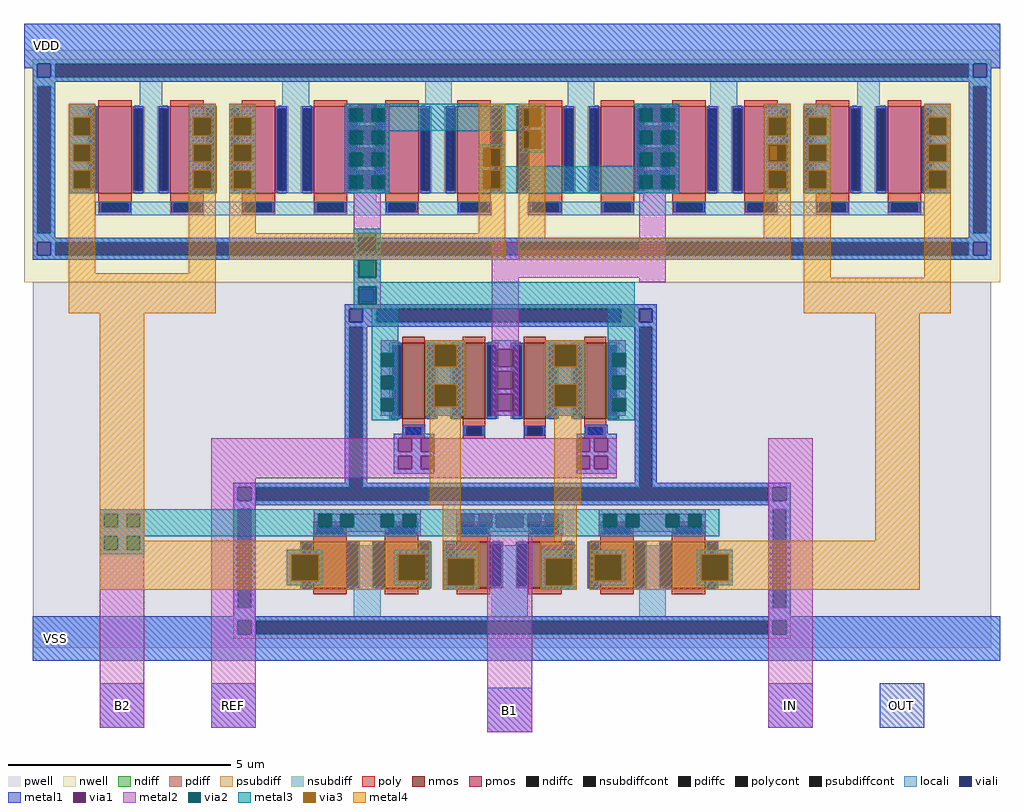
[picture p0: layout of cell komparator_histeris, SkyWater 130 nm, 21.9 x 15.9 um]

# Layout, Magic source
magic
tech sky130A
magscale 1 2
<< nwell >>
rect 760 -800 5140 240
<< pwell >>
rect 800 -2440 5100 -800
<< psubdiff >>
rect 2200 -920 3600 -900
rect 2200 -980 2340 -920
rect 3440 -980 3600 -920
rect 2200 -1000 3600 -980
rect 2200 -1700 2220 -1000
rect 1700 -1720 2220 -1700
rect 2280 -1700 2300 -1000
rect 3500 -1700 3520 -1000
rect 2280 -1720 3520 -1700
rect 3580 -1700 3600 -1000
rect 3580 -1720 4200 -1700
rect 1700 -1780 1800 -1720
rect 4100 -1780 4200 -1720
rect 1700 -1800 4200 -1780
rect 1700 -1820 1800 -1800
rect 1700 -2260 1720 -1820
rect 1780 -2260 1800 -1820
rect 1700 -2300 1800 -2260
rect 4100 -1820 4200 -1800
rect 4100 -2260 4120 -1820
rect 4180 -2260 4200 -1820
rect 4100 -2300 4200 -2260
rect 1700 -2320 4200 -2300
rect 1700 -2380 1800 -2320
rect 4100 -2380 4200 -2320
rect 1700 -2400 4200 -2380
<< nsubdiff >>
rect 800 180 5100 200
rect 800 120 900 180
rect 5000 120 5100 180
rect 800 100 5100 120
rect 800 80 900 100
rect 800 -580 820 80
rect 880 -580 900 80
rect 800 -600 900 -580
rect 5000 80 5100 100
rect 5000 -580 5020 80
rect 5080 -580 5100 80
rect 5000 -600 5100 -580
rect 800 -620 5100 -600
rect 800 -680 900 -620
rect 5000 -680 5100 -620
rect 800 -700 5100 -680
<< psubdiffcont >>
rect 2340 -980 3440 -920
rect 2220 -1720 2280 -1000
rect 3520 -1720 3580 -1000
rect 1800 -1780 4100 -1720
rect 1720 -2260 1780 -1820
rect 4120 -2260 4180 -1820
rect 1800 -2380 4100 -2320
<< nsubdiffcont >>
rect 900 120 5000 180
rect 820 -580 880 80
rect 5020 -580 5080 80
rect 900 -680 5000 -620
<< locali >>
rect 760 180 5140 360
rect 760 160 820 180
rect 800 120 820 160
rect 880 120 900 180
rect 5000 120 5020 180
rect 5080 160 5140 180
rect 5080 120 5100 160
rect 800 100 5100 120
rect 800 80 900 100
rect 800 -580 820 80
rect 880 -580 900 80
rect 960 -400 1080 0
rect 1280 -400 1380 100
rect 1920 -400 2040 100
rect 2240 -440 2340 0
rect 2560 -400 2680 100
rect 3200 -400 3320 100
rect 3540 -440 3640 0
rect 3840 -400 3960 100
rect 4260 -400 4380 0
rect 4500 -400 4600 100
rect 5000 80 5100 100
rect 1080 -500 2860 -440
rect 3020 -500 4800 -440
rect 800 -600 900 -580
rect 5000 -580 5020 80
rect 5080 -580 5100 80
rect 5000 -600 5100 -580
rect 800 -620 5100 -600
rect 800 -680 820 -620
rect 880 -680 900 -620
rect 5000 -680 5020 -620
rect 5080 -680 5100 -620
rect 800 -700 5100 -680
rect 2200 -920 3600 -900
rect 2200 -980 2220 -920
rect 2280 -980 2340 -920
rect 3440 -980 3520 -920
rect 3580 -980 3600 -920
rect 2200 -1000 3600 -980
rect 2200 -1700 2220 -1000
rect 1700 -1720 2220 -1700
rect 2280 -1700 2300 -1000
rect 3114 -1078 3150 -1069
rect 3230 -1077 3254 -1069
rect 2680 -1400 2720 -1080
rect 2680 -1416 2718 -1400
rect 3134 -1416 3150 -1078
rect 3500 -1700 3520 -1000
rect 2280 -1720 3520 -1700
rect 3580 -1700 3600 -1000
rect 3580 -1720 4200 -1700
rect 1700 -1780 1720 -1720
rect 1780 -1780 1800 -1720
rect 4100 -1780 4120 -1720
rect 4180 -1780 4200 -1720
rect 1700 -1800 4200 -1780
rect 1700 -1820 1800 -1800
rect 1700 -2260 1720 -1820
rect 1780 -2260 1800 -1820
rect 4100 -1820 4200 -1800
rect 1700 -2300 1800 -2260
rect 2240 -2300 2360 -1980
rect 2860 -2300 3020 -1980
rect 3520 -2300 3640 -1980
rect 4100 -2260 4120 -1820
rect 4180 -2260 4200 -1820
rect 4100 -2300 4200 -2260
rect 800 -2320 5140 -2300
rect 800 -2380 1720 -2320
rect 1780 -2380 1800 -2320
rect 4100 -2380 4120 -2320
rect 4180 -2380 5140 -2320
rect 800 -2500 5140 -2380
<< viali >>
rect 820 120 880 180
rect 5020 120 5080 180
rect 820 -680 880 -620
rect 5020 -680 5080 -620
rect 2220 -980 2280 -920
rect 3520 -980 3580 -920
rect 1720 -1780 1780 -1720
rect 4120 -1780 4180 -1720
rect 1720 -2380 1780 -2320
rect 4120 -2380 4180 -2320
<< metal1 >>
rect 760 180 5140 360
rect 760 160 820 180
rect 800 120 820 160
rect 880 120 5020 180
rect 5080 160 5140 180
rect 5080 120 5100 160
rect 800 100 5100 120
rect 800 -600 900 100
rect 960 -60 1080 0
rect 960 -140 980 -60
rect 1060 -140 1080 -60
rect 960 -180 1080 -140
rect 960 -260 980 -180
rect 1060 -260 1080 -180
rect 960 -400 1080 -260
rect 1500 -60 1620 0
rect 1500 -140 1520 -60
rect 1600 -140 1620 -60
rect 1500 -180 1620 -140
rect 1500 -260 1520 -180
rect 1600 -260 1620 -180
rect 1500 -400 1620 -260
rect 1680 -60 1800 0
rect 1680 -140 1700 -60
rect 1780 -140 1800 -60
rect 1680 -180 1800 -140
rect 1680 -260 1700 -180
rect 1780 -260 1800 -180
rect 1680 -300 1800 -260
rect 1680 -380 1700 -300
rect 1780 -380 1800 -300
rect 1680 -400 1800 -380
rect 2220 -80 2260 0
rect 2340 -80 2380 0
rect 2220 -100 2380 -80
rect 2220 -180 2260 -100
rect 2340 -180 2380 -100
rect 2220 -200 2380 -180
rect 2220 -280 2260 -200
rect 2340 -280 2380 -200
rect 2220 -300 2380 -280
rect 2220 -380 2260 -300
rect 2340 -380 2380 -300
rect 2220 -400 2380 -380
rect 3500 -80 3540 0
rect 3620 -80 3700 0
rect 3500 -100 3700 -80
rect 3500 -180 3540 -100
rect 3620 -180 3700 -100
rect 3500 -200 3700 -180
rect 3500 -280 3540 -200
rect 3620 -280 3700 -200
rect 3500 -300 3700 -280
rect 3500 -380 3540 -300
rect 3620 -380 3700 -300
rect 3500 -400 3700 -380
rect 4080 -60 4200 0
rect 4080 -140 4100 -60
rect 4180 -140 4200 -60
rect 4080 -180 4200 -140
rect 4080 -260 4100 -180
rect 4180 -260 4200 -180
rect 4080 -300 4200 -260
rect 4080 -380 4100 -300
rect 4180 -380 4200 -300
rect 4080 -400 4200 -380
rect 4260 -60 4380 0
rect 4260 -140 4280 -60
rect 4360 -140 4380 -60
rect 4260 -180 4380 -140
rect 4260 -260 4280 -180
rect 4360 -260 4380 -180
rect 4260 -300 4380 -260
rect 4260 -380 4280 -300
rect 4360 -380 4380 -300
rect 4260 -400 4380 -380
rect 4800 -60 4920 0
rect 4800 -140 4820 -60
rect 4900 -140 4920 -60
rect 4800 -180 4920 -140
rect 4800 -260 4820 -180
rect 4900 -260 4920 -180
rect 4800 -300 4920 -260
rect 4800 -380 4820 -300
rect 4900 -380 4920 -300
rect 4800 -400 4920 -380
rect 5000 -600 5100 100
rect 800 -620 5100 -600
rect 800 -680 820 -620
rect 880 -680 5020 -620
rect 5080 -680 5100 -620
rect 800 -700 5100 -680
rect 2200 -920 3600 -900
rect 2200 -980 2220 -920
rect 2280 -980 3520 -920
rect 3580 -980 3600 -920
rect 2200 -1000 3600 -980
rect 2200 -1700 2300 -1000
rect 2360 -1120 2440 -1060
rect 2420 -1180 2440 -1120
rect 2360 -1220 2440 -1180
rect 2420 -1280 2440 -1220
rect 2360 -1320 2440 -1280
rect 2420 -1380 2440 -1320
rect 2360 -1400 2440 -1380
rect 2560 -1080 2740 -1060
rect 2560 -1180 2600 -1080
rect 2700 -1180 2740 -1080
rect 2560 -1260 2740 -1180
rect 2560 -1360 2600 -1260
rect 2700 -1360 2740 -1260
rect 2560 -1400 2740 -1360
rect 2860 -1100 2980 -1060
rect 2860 -1180 2880 -1100
rect 2960 -1180 2980 -1100
rect 2860 -1200 2980 -1180
rect 2860 -1280 2880 -1200
rect 2960 -1280 2980 -1200
rect 2860 -1300 2980 -1280
rect 2860 -1380 2880 -1300
rect 2960 -1380 2980 -1300
rect 2860 -1400 2980 -1380
rect 3100 -1080 3280 -1060
rect 3100 -1180 3140 -1080
rect 3240 -1180 3280 -1080
rect 3100 -1260 3280 -1180
rect 3100 -1360 3140 -1260
rect 3240 -1360 3280 -1260
rect 3100 -1400 3280 -1360
rect 3380 -1120 3460 -1060
rect 3380 -1180 3400 -1120
rect 3380 -1220 3460 -1180
rect 3380 -1280 3400 -1220
rect 3380 -1320 3460 -1280
rect 3380 -1380 3400 -1320
rect 3380 -1400 3460 -1380
rect 2460 -1480 2560 -1440
rect 3280 -1480 3380 -1440
rect 2420 -1500 2600 -1480
rect 2420 -1560 2440 -1500
rect 2500 -1560 2540 -1500
rect 2420 -1580 2600 -1560
rect 2420 -1640 2440 -1580
rect 2500 -1640 2540 -1580
rect 2420 -1660 2600 -1640
rect 3240 -1500 3420 -1480
rect 3300 -1560 3320 -1500
rect 3380 -1560 3420 -1500
rect 3240 -1580 3420 -1560
rect 3300 -1640 3320 -1580
rect 3380 -1640 3420 -1580
rect 3240 -1660 3420 -1640
rect 3500 -1700 3600 -1000
rect 1700 -1720 4200 -1700
rect 1700 -1780 1720 -1720
rect 1780 -1780 4120 -1720
rect 4180 -1780 4200 -1720
rect 1700 -1800 4200 -1780
rect 1700 -2300 1800 -1800
rect 2060 -1900 2080 -1840
rect 2140 -1900 2180 -1840
rect 2240 -1900 2360 -1840
rect 2420 -1900 2460 -1840
rect 2520 -1900 2540 -1840
rect 2060 -1920 2540 -1900
rect 2700 -1900 2720 -1840
rect 2780 -1900 2800 -1840
rect 2860 -1900 2880 -1840
rect 3000 -1900 3020 -1840
rect 3080 -1900 3100 -1840
rect 3160 -1900 3180 -1840
rect 2700 -1920 3180 -1900
rect 3340 -1900 3360 -1840
rect 3420 -1900 3460 -1840
rect 3520 -1900 3640 -1840
rect 3700 -1900 3740 -1840
rect 3800 -1900 3820 -1840
rect 3340 -1920 3820 -1900
rect 1940 -2020 2100 -2000
rect 1940 -2140 1960 -2020
rect 2080 -2140 2100 -2020
rect 1940 -2160 2100 -2140
rect 2420 -2020 2580 -2000
rect 2420 -2140 2440 -2020
rect 2560 -2140 2580 -2020
rect 2420 -2160 2580 -2140
rect 2640 -2040 2800 -1960
rect 2640 -2160 2660 -2040
rect 2780 -2160 2800 -2040
rect 2640 -2180 2800 -2160
rect 3080 -2040 3240 -1980
rect 3080 -2160 3100 -2040
rect 3220 -2160 3240 -2040
rect 3300 -2020 3460 -2000
rect 3300 -2140 3320 -2020
rect 3440 -2140 3460 -2020
rect 3300 -2160 3460 -2140
rect 3780 -2020 3940 -2000
rect 3780 -2140 3800 -2020
rect 3920 -2140 3940 -2020
rect 3780 -2160 3940 -2140
rect 3080 -2180 3240 -2160
rect 4100 -2300 4200 -1800
rect 800 -2320 5140 -2300
rect 800 -2380 1720 -2320
rect 1780 -2380 4120 -2320
rect 4180 -2380 5140 -2320
rect 800 -2500 5140 -2380
rect 1100 -2800 1300 -2600
rect 1600 -2800 1800 -2600
rect 2840 -2820 3040 -2620
rect 4100 -2800 4300 -2600
rect 4600 -2800 4800 -2600
<< via1 >>
rect 980 -140 1060 -60
rect 980 -260 1060 -180
rect 1520 -140 1600 -60
rect 1520 -260 1600 -180
rect 1700 -140 1780 -60
rect 1700 -260 1780 -180
rect 1700 -380 1780 -300
rect 2260 -80 2340 0
rect 2260 -180 2340 -100
rect 2260 -280 2340 -200
rect 2260 -380 2340 -300
rect 3540 -80 3620 0
rect 3540 -180 3620 -100
rect 3540 -280 3620 -200
rect 3540 -380 3620 -300
rect 4100 -140 4180 -60
rect 4100 -260 4180 -180
rect 4100 -380 4180 -300
rect 4280 -140 4360 -60
rect 4280 -260 4360 -180
rect 4280 -380 4360 -300
rect 4820 -140 4900 -60
rect 4820 -260 4900 -180
rect 4820 -380 4900 -300
rect 2360 -1180 2420 -1120
rect 2360 -1280 2420 -1220
rect 2360 -1380 2420 -1320
rect 2600 -1180 2700 -1080
rect 2600 -1360 2700 -1260
rect 2880 -1180 2960 -1100
rect 2880 -1280 2960 -1200
rect 2880 -1380 2960 -1300
rect 3140 -1180 3240 -1080
rect 3140 -1360 3240 -1260
rect 3400 -1180 3460 -1120
rect 3400 -1280 3460 -1220
rect 3400 -1380 3460 -1320
rect 2440 -1560 2500 -1500
rect 2540 -1560 2600 -1500
rect 2440 -1640 2500 -1580
rect 2540 -1640 2600 -1580
rect 3240 -1560 3300 -1500
rect 3320 -1560 3380 -1500
rect 3240 -1640 3300 -1580
rect 3320 -1640 3380 -1580
rect 2080 -1900 2140 -1840
rect 2180 -1900 2240 -1840
rect 2360 -1900 2420 -1840
rect 2460 -1900 2520 -1840
rect 2720 -1900 2780 -1840
rect 2800 -1900 2860 -1840
rect 2880 -1900 3000 -1840
rect 3020 -1900 3080 -1840
rect 3100 -1900 3160 -1840
rect 3360 -1900 3420 -1840
rect 3460 -1900 3520 -1840
rect 3640 -1900 3700 -1840
rect 3740 -1900 3800 -1840
rect 1960 -2140 2080 -2020
rect 2440 -2140 2560 -2020
rect 2660 -2160 2780 -2040
rect 3100 -2160 3220 -2040
rect 3320 -2140 3440 -2020
rect 3800 -2140 3920 -2020
<< metal2 >>
rect 960 -60 1080 0
rect 960 -140 980 -60
rect 1060 -140 1080 -60
rect 960 -180 1080 -140
rect 960 -260 980 -180
rect 1060 -260 1080 -180
rect 960 -300 1080 -260
rect 960 -380 980 -300
rect 1060 -380 1080 -300
rect 960 -400 1080 -380
rect 1500 -60 1620 0
rect 1500 -140 1520 -60
rect 1600 -140 1620 -60
rect 1500 -180 1620 -140
rect 1500 -260 1520 -180
rect 1600 -260 1620 -180
rect 1500 -300 1620 -260
rect 1500 -380 1520 -300
rect 1600 -380 1620 -300
rect 1500 -400 1620 -380
rect 1680 -60 1800 0
rect 1680 -140 1700 -60
rect 1780 -140 1800 -60
rect 1680 -180 1800 -140
rect 1680 -260 1700 -180
rect 1780 -260 1800 -180
rect 1680 -300 1800 -260
rect 1680 -380 1700 -300
rect 1780 -380 1800 -300
rect 1680 -400 1800 -380
rect 2200 -20 2260 0
rect 2340 -20 2400 0
rect 2200 -80 2220 -20
rect 2380 -80 2400 -20
rect 2200 -100 2400 -80
rect 2200 -120 2260 -100
rect 2340 -120 2400 -100
rect 2200 -180 2220 -120
rect 2380 -180 2400 -120
rect 2200 -200 2400 -180
rect 2200 -220 2260 -200
rect 2340 -220 2400 -200
rect 2200 -280 2220 -220
rect 2380 -280 2400 -220
rect 2200 -300 2400 -280
rect 2200 -320 2260 -300
rect 2340 -320 2400 -300
rect 2200 -380 2220 -320
rect 2380 -380 2400 -320
rect 2200 -400 2400 -380
rect 3500 -20 3540 0
rect 3620 -20 3700 0
rect 3500 -80 3520 -20
rect 3680 -80 3700 -20
rect 3500 -100 3700 -80
rect 3500 -120 3540 -100
rect 3620 -120 3700 -100
rect 3500 -180 3520 -120
rect 3680 -180 3700 -120
rect 3500 -200 3700 -180
rect 3500 -220 3540 -200
rect 3620 -220 3700 -200
rect 3500 -280 3520 -220
rect 3680 -280 3700 -220
rect 3500 -300 3700 -280
rect 3500 -320 3540 -300
rect 3620 -320 3700 -300
rect 3500 -380 3520 -320
rect 3680 -380 3700 -320
rect 3500 -400 3700 -380
rect 4080 -60 4200 0
rect 4080 -140 4100 -60
rect 4180 -140 4200 -60
rect 4080 -180 4200 -140
rect 4080 -260 4100 -180
rect 4180 -260 4200 -180
rect 4080 -300 4200 -260
rect 4080 -380 4100 -300
rect 4180 -380 4200 -300
rect 4080 -400 4200 -380
rect 4260 -60 4380 0
rect 4260 -140 4280 -60
rect 4360 -140 4380 -60
rect 4260 -180 4380 -140
rect 4260 -260 4280 -180
rect 4360 -260 4380 -180
rect 4260 -300 4380 -260
rect 4260 -380 4280 -300
rect 4360 -380 4380 -300
rect 4260 -400 4380 -380
rect 4800 -60 4920 0
rect 4800 -140 4820 -60
rect 4900 -140 4920 -60
rect 4800 -180 4920 -140
rect 4800 -260 4820 -180
rect 4900 -260 4920 -180
rect 4800 -300 4920 -260
rect 4800 -380 4820 -300
rect 4900 -380 4920 -300
rect 4800 -400 4920 -380
rect 2240 -580 2360 -400
rect 2240 -660 2260 -580
rect 2340 -660 2360 -580
rect 2240 -700 2360 -660
rect 2240 -780 2260 -700
rect 2340 -780 2360 -700
rect 2240 -820 2360 -780
rect 2240 -900 2260 -820
rect 2340 -900 2360 -820
rect 2240 -920 2360 -900
rect 2860 -660 2980 -620
rect 3520 -660 3640 -400
rect 2860 -780 3640 -660
rect 2360 -1120 2440 -1060
rect 2420 -1180 2440 -1120
rect 2360 -1220 2440 -1180
rect 2420 -1280 2440 -1220
rect 2360 -1320 2440 -1280
rect 2420 -1380 2440 -1320
rect 2360 -1400 2440 -1380
rect 2560 -1080 2740 -1060
rect 2560 -1180 2600 -1080
rect 2700 -1180 2740 -1080
rect 2560 -1260 2740 -1180
rect 2560 -1360 2600 -1260
rect 2700 -1360 2740 -1260
rect 2560 -1400 2740 -1360
rect 2860 -1100 2980 -780
rect 3520 -800 3640 -780
rect 2860 -1180 2880 -1100
rect 2960 -1180 2980 -1100
rect 2860 -1200 2980 -1180
rect 2860 -1280 2880 -1200
rect 2960 -1280 2980 -1200
rect 2860 -1300 2980 -1280
rect 2860 -1380 2880 -1300
rect 2960 -1380 2980 -1300
rect 2860 -1400 2980 -1380
rect 3100 -1080 3280 -1060
rect 3100 -1180 3140 -1080
rect 3240 -1180 3280 -1080
rect 3100 -1260 3280 -1180
rect 3100 -1360 3140 -1260
rect 3240 -1360 3280 -1260
rect 3100 -1400 3280 -1360
rect 3380 -1120 3460 -1060
rect 3380 -1180 3400 -1120
rect 3380 -1220 3460 -1180
rect 3380 -1280 3400 -1220
rect 3380 -1320 3460 -1280
rect 3380 -1380 3400 -1320
rect 3380 -1400 3460 -1380
rect 1600 -1560 2440 -1500
rect 2500 -1560 2540 -1500
rect 2600 -1560 3240 -1500
rect 3300 -1560 3320 -1500
rect 3380 -1560 3420 -1500
rect 1600 -1580 3420 -1560
rect 1600 -1640 2440 -1580
rect 2500 -1640 2540 -1580
rect 2600 -1640 3240 -1580
rect 3300 -1640 3320 -1580
rect 3380 -1640 3420 -1580
rect 1600 -1680 3420 -1640
rect 1100 -1840 1300 -1820
rect 1100 -1900 1120 -1840
rect 1180 -1900 1220 -1840
rect 1280 -1900 1300 -1840
rect 1100 -1940 1300 -1900
rect 1100 -2000 1120 -1940
rect 1180 -2000 1220 -1940
rect 1280 -2000 1300 -1940
rect 1100 -2800 1300 -2000
rect 1600 -2800 1800 -1680
rect 2060 -1840 2540 -1820
rect 2060 -1900 2080 -1840
rect 2140 -1900 2180 -1840
rect 2240 -1900 2360 -1840
rect 2420 -1900 2460 -1840
rect 2520 -1900 2540 -1840
rect 2060 -1940 2540 -1900
rect 2700 -1840 3180 -1820
rect 2700 -1900 2720 -1840
rect 2780 -1900 2800 -1840
rect 2860 -1900 2880 -1840
rect 3000 -1900 3020 -1840
rect 3080 -1900 3100 -1840
rect 3160 -1900 3180 -1840
rect 2700 -1940 3180 -1900
rect 3340 -1840 3820 -1820
rect 3340 -1900 3360 -1840
rect 3420 -1900 3460 -1840
rect 3520 -1900 3640 -1840
rect 3700 -1900 3740 -1840
rect 3800 -1900 3820 -1840
rect 3340 -1940 3820 -1900
rect 1940 -2020 2100 -2000
rect 1940 -2140 1960 -2020
rect 2080 -2140 2100 -2020
rect 1940 -2160 2100 -2140
rect 2420 -2020 2580 -2000
rect 2420 -2140 2440 -2020
rect 2560 -2140 2580 -2020
rect 2420 -2160 2580 -2140
rect 2640 -2040 2800 -1980
rect 2640 -2160 2660 -2040
rect 2780 -2160 2800 -2040
rect 2640 -2180 2800 -2160
rect 2840 -2820 3040 -1940
rect 3080 -2040 3240 -1980
rect 3080 -2160 3100 -2040
rect 3220 -2160 3240 -2040
rect 3300 -2020 3460 -2000
rect 3300 -2140 3320 -2020
rect 3440 -2140 3460 -2020
rect 3300 -2160 3460 -2140
rect 3780 -2020 3940 -2000
rect 3780 -2140 3800 -2020
rect 3920 -2140 3940 -2020
rect 3780 -2160 3940 -2140
rect 3080 -2180 3240 -2160
rect 4100 -2800 4300 -1500
<< via2 >>
rect 980 -140 1060 -60
rect 980 -260 1060 -180
rect 980 -380 1060 -300
rect 1520 -140 1600 -60
rect 1520 -260 1600 -180
rect 1520 -380 1600 -300
rect 1700 -140 1780 -60
rect 1700 -260 1780 -180
rect 1700 -380 1780 -300
rect 2220 -80 2260 -20
rect 2260 -80 2280 -20
rect 2320 -80 2340 -20
rect 2340 -80 2380 -20
rect 2220 -180 2260 -120
rect 2260 -180 2280 -120
rect 2320 -180 2340 -120
rect 2340 -180 2380 -120
rect 2220 -280 2260 -220
rect 2260 -280 2280 -220
rect 2320 -280 2340 -220
rect 2340 -280 2380 -220
rect 2220 -380 2260 -320
rect 2260 -380 2280 -320
rect 2320 -380 2340 -320
rect 2340 -380 2380 -320
rect 3520 -80 3540 -20
rect 3540 -80 3580 -20
rect 3620 -80 3680 -20
rect 3520 -180 3540 -120
rect 3540 -180 3580 -120
rect 3620 -180 3680 -120
rect 3520 -280 3540 -220
rect 3540 -280 3580 -220
rect 3620 -280 3680 -220
rect 3520 -380 3540 -320
rect 3540 -380 3580 -320
rect 3620 -380 3680 -320
rect 4100 -140 4180 -60
rect 4100 -380 4180 -300
rect 4280 -140 4360 -60
rect 4280 -260 4360 -180
rect 4280 -380 4360 -300
rect 4820 -140 4900 -60
rect 4820 -260 4900 -180
rect 4820 -380 4900 -300
rect 2260 -660 2340 -580
rect 2260 -780 2340 -700
rect 2260 -900 2340 -820
rect 2360 -1180 2420 -1120
rect 2360 -1280 2420 -1220
rect 2360 -1380 2420 -1320
rect 2600 -1180 2700 -1080
rect 2600 -1360 2700 -1260
rect 3140 -1180 3240 -1080
rect 3140 -1360 3240 -1260
rect 3400 -1180 3460 -1120
rect 3400 -1280 3460 -1220
rect 3400 -1380 3460 -1320
rect 1120 -1900 1180 -1840
rect 1220 -1900 1280 -1840
rect 1120 -2000 1180 -1940
rect 1220 -2000 1280 -1940
rect 2080 -1900 2140 -1840
rect 2180 -1900 2240 -1840
rect 2360 -1900 2420 -1840
rect 2460 -1900 2520 -1840
rect 3360 -1900 3420 -1840
rect 3460 -1900 3520 -1840
rect 3640 -1900 3700 -1840
rect 3740 -1900 3800 -1840
rect 1960 -2140 2080 -2020
rect 2440 -2140 2560 -2020
rect 2660 -2160 2780 -2040
rect 3100 -2160 3220 -2040
rect 3320 -2140 3440 -2020
rect 3800 -2140 3920 -2020
<< metal3 >>
rect 960 -60 1080 0
rect 960 -140 980 -60
rect 1060 -140 1080 -60
rect 960 -180 1080 -140
rect 960 -260 980 -180
rect 1060 -260 1080 -180
rect 960 -300 1080 -260
rect 960 -380 980 -300
rect 1060 -380 1080 -300
rect 960 -400 1080 -380
rect 1500 -60 1620 0
rect 1500 -140 1520 -60
rect 1600 -140 1620 -60
rect 1500 -180 1620 -140
rect 1500 -260 1520 -180
rect 1600 -260 1620 -180
rect 1500 -300 1620 -260
rect 1500 -380 1520 -300
rect 1600 -380 1620 -300
rect 1500 -400 1620 -380
rect 1680 -60 1800 0
rect 1680 -140 1700 -60
rect 1780 -140 1800 -60
rect 1680 -180 1800 -140
rect 1680 -260 1700 -180
rect 1780 -260 1800 -180
rect 1680 -300 1800 -260
rect 1680 -380 1700 -300
rect 1780 -380 1800 -300
rect 1680 -400 1800 -380
rect 2200 -20 3100 0
rect 2200 -80 2220 -20
rect 2280 -80 2320 -20
rect 2380 -80 3000 -20
rect 2200 -100 3000 -80
rect 3080 -100 3100 -20
rect 2200 -120 3100 -100
rect 2200 -180 2220 -120
rect 2280 -180 2320 -120
rect 2380 -180 2400 -120
rect 2200 -220 2400 -180
rect 2200 -280 2220 -220
rect 2280 -280 2320 -220
rect 2380 -280 2400 -220
rect 2200 -320 2400 -280
rect 2200 -380 2220 -320
rect 2280 -380 2320 -320
rect 2380 -380 2400 -320
rect 2200 -400 2400 -380
rect 2800 -200 2920 -180
rect 2800 -280 2820 -200
rect 2900 -280 2920 -200
rect 2980 -200 3000 -120
rect 3080 -200 3100 -120
rect 2980 -220 3100 -200
rect 3500 -20 3700 0
rect 3500 -80 3520 -20
rect 3580 -80 3620 -20
rect 3680 -80 3700 -20
rect 3500 -120 3700 -80
rect 3500 -180 3520 -120
rect 3580 -180 3620 -120
rect 3680 -180 3700 -120
rect 3500 -220 3700 -180
rect 3500 -280 3520 -220
rect 3580 -280 3620 -220
rect 3680 -280 3700 -220
rect 2800 -300 3700 -280
rect 2800 -380 2820 -300
rect 2900 -320 3700 -300
rect 2900 -380 3520 -320
rect 3580 -380 3620 -320
rect 3680 -380 3700 -320
rect 2800 -400 3700 -380
rect 4080 -60 4200 0
rect 4080 -140 4100 -60
rect 4180 -140 4200 -60
rect 4080 -180 4200 -140
rect 4080 -260 4100 -180
rect 4180 -260 4200 -180
rect 4080 -300 4200 -260
rect 4080 -380 4100 -300
rect 4180 -380 4200 -300
rect 4080 -400 4200 -380
rect 4260 -60 4380 0
rect 4260 -140 4280 -60
rect 4360 -140 4380 -60
rect 4260 -180 4380 -140
rect 4260 -260 4280 -180
rect 4360 -260 4380 -180
rect 4260 -300 4380 -260
rect 4260 -380 4280 -300
rect 4360 -380 4380 -300
rect 4260 -400 4380 -380
rect 4800 -60 4920 0
rect 4800 -140 4820 -60
rect 4900 -140 4920 -60
rect 4800 -180 4920 -140
rect 4800 -260 4820 -180
rect 4900 -260 4920 -180
rect 4800 -300 4920 -260
rect 4800 -380 4820 -300
rect 4900 -380 4920 -300
rect 4800 -400 4920 -380
rect 2240 -580 2360 -560
rect 2240 -660 2260 -580
rect 2340 -660 2360 -580
rect 2240 -700 2360 -660
rect 2240 -780 2260 -700
rect 2340 -780 2360 -700
rect 2240 -800 2360 -780
rect 2240 -820 3500 -800
rect 2240 -900 2260 -820
rect 2340 -900 3500 -820
rect 2240 -920 3500 -900
rect 2320 -1120 2440 -920
rect 2320 -1180 2360 -1120
rect 2420 -1180 2440 -1120
rect 2320 -1220 2440 -1180
rect 2320 -1280 2360 -1220
rect 2420 -1280 2440 -1220
rect 2320 -1320 2440 -1280
rect 2320 -1380 2360 -1320
rect 2420 -1380 2440 -1320
rect 2320 -1420 2440 -1380
rect 2560 -1080 2740 -1060
rect 2560 -1180 2600 -1080
rect 2700 -1180 2740 -1080
rect 2560 -1260 2740 -1180
rect 2560 -1360 2600 -1260
rect 2700 -1360 2740 -1260
rect 2560 -1400 2740 -1360
rect 3100 -1080 3280 -1060
rect 3100 -1180 3140 -1080
rect 3240 -1180 3280 -1080
rect 3100 -1260 3280 -1180
rect 3100 -1360 3140 -1260
rect 3240 -1360 3280 -1260
rect 3100 -1400 3280 -1360
rect 3380 -1120 3500 -920
rect 3380 -1180 3400 -1120
rect 3460 -1180 3500 -1120
rect 3380 -1220 3500 -1180
rect 3380 -1280 3400 -1220
rect 3460 -1280 3500 -1220
rect 3380 -1320 3500 -1280
rect 3380 -1380 3400 -1320
rect 3460 -1380 3500 -1320
rect 3380 -1420 3500 -1380
rect 1100 -1840 3880 -1820
rect 1100 -1900 1120 -1840
rect 1180 -1900 1220 -1840
rect 1280 -1900 2080 -1840
rect 2140 -1900 2180 -1840
rect 2240 -1900 2360 -1840
rect 2420 -1900 2460 -1840
rect 2520 -1900 3360 -1840
rect 3420 -1900 3460 -1840
rect 3520 -1900 3640 -1840
rect 3700 -1900 3740 -1840
rect 3800 -1900 3880 -1840
rect 1100 -1940 3880 -1900
rect 1100 -2000 1120 -1940
rect 1180 -2000 1220 -1940
rect 1280 -2000 1300 -1940
rect 1100 -2020 1300 -2000
rect 1940 -2020 2100 -2000
rect 1940 -2140 1960 -2020
rect 2080 -2140 2100 -2020
rect 1940 -2160 2100 -2140
rect 2420 -2020 2580 -2000
rect 2420 -2140 2440 -2020
rect 2560 -2140 2580 -2020
rect 2420 -2160 2580 -2140
rect 2640 -2040 2800 -2000
rect 2640 -2160 2660 -2040
rect 2780 -2160 2800 -2040
rect 2640 -2180 2800 -2160
rect 3080 -2040 3240 -2000
rect 3080 -2160 3100 -2040
rect 3220 -2160 3240 -2040
rect 3300 -2020 3460 -2000
rect 3300 -2140 3320 -2020
rect 3440 -2140 3460 -2020
rect 3300 -2160 3460 -2140
rect 3780 -2020 3940 -2000
rect 3780 -2140 3800 -2020
rect 3920 -2140 3940 -2020
rect 3780 -2160 3940 -2140
rect 3080 -2180 3240 -2160
<< via3 >>
rect 980 -140 1060 -60
rect 980 -260 1060 -180
rect 980 -380 1060 -300
rect 1520 -140 1600 -60
rect 1520 -260 1600 -180
rect 1520 -380 1600 -300
rect 1700 -140 1780 -60
rect 1700 -260 1780 -180
rect 1700 -380 1780 -300
rect 3000 -100 3080 -20
rect 2820 -280 2900 -200
rect 3000 -200 3080 -120
rect 2820 -380 2900 -300
rect 4100 -140 4180 -60
rect 4100 -260 4180 -180
rect 4100 -380 4180 -300
rect 4280 -140 4360 -60
rect 4280 -260 4360 -180
rect 4280 -380 4360 -300
rect 4820 -140 4900 -60
rect 4820 -260 4900 -180
rect 4820 -380 4900 -300
rect 2600 -1180 2700 -1080
rect 2600 -1360 2700 -1260
rect 3140 -1180 3240 -1080
rect 3140 -1360 3240 -1260
rect 1960 -2140 2080 -2020
rect 2440 -2140 2560 -2020
rect 2660 -2160 2780 -2040
rect 3100 -2160 3220 -2040
rect 3320 -2140 3440 -2020
rect 3800 -2140 3920 -2020
<< metal4 >>
rect 960 -60 1080 0
rect 960 -140 980 -60
rect 1060 -140 1080 -60
rect 960 -180 1080 -140
rect 960 -260 980 -180
rect 1060 -260 1080 -180
rect 960 -300 1080 -260
rect 960 -380 980 -300
rect 1060 -380 1080 -300
rect 960 -760 1080 -380
rect 1500 -60 1620 0
rect 1500 -140 1520 -60
rect 1600 -140 1620 -60
rect 1500 -180 1620 -140
rect 1500 -260 1520 -180
rect 1600 -260 1620 -180
rect 1500 -300 1620 -260
rect 1500 -380 1520 -300
rect 1600 -380 1620 -300
rect 1500 -760 1620 -380
rect 1680 -60 1800 0
rect 1680 -140 1700 -60
rect 1780 -140 1800 -60
rect 1680 -180 1800 -140
rect 1680 -260 1700 -180
rect 1780 -260 1800 -180
rect 1680 -300 1800 -260
rect 1680 -380 1700 -300
rect 1780 -380 1800 -300
rect 1680 -580 1800 -380
rect 2800 -200 2920 0
rect 2800 -280 2820 -200
rect 2900 -280 2920 -200
rect 2800 -300 2920 -280
rect 2800 -380 2820 -300
rect 2900 -380 2920 -300
rect 2800 -580 2920 -380
rect 1680 -700 2920 -580
rect 2980 -20 3100 0
rect 2980 -100 3000 -20
rect 3080 -100 3100 -20
rect 2980 -120 3100 -100
rect 2980 -200 3000 -120
rect 3080 -200 3100 -120
rect 2980 -600 3100 -200
rect 4080 -60 4200 0
rect 4080 -140 4100 -60
rect 4180 -140 4200 -60
rect 4080 -180 4200 -140
rect 4080 -260 4100 -180
rect 4180 -260 4200 -180
rect 4080 -300 4200 -260
rect 4080 -380 4100 -300
rect 4180 -380 4200 -300
rect 4080 -600 4200 -380
rect 2980 -700 4200 -600
rect 4260 -60 4380 0
rect 4260 -140 4280 -60
rect 4360 -140 4380 -60
rect 4260 -180 4380 -140
rect 4260 -260 4280 -180
rect 4360 -260 4380 -180
rect 4260 -300 4380 -260
rect 4260 -380 4280 -300
rect 4360 -380 4380 -300
rect 960 -940 1620 -760
rect 4260 -780 4380 -380
rect 4800 -60 4920 0
rect 4800 -140 4820 -60
rect 4900 -140 4920 -60
rect 4800 -180 4920 -140
rect 4800 -260 4820 -180
rect 4900 -260 4920 -180
rect 4800 -300 4920 -260
rect 4800 -380 4820 -300
rect 4900 -380 4920 -300
rect 4800 -780 4920 -380
rect 4260 -940 4920 -780
rect 1100 -1960 1300 -940
rect 2560 -1080 2740 -1060
rect 2560 -1180 2600 -1080
rect 2700 -1180 2740 -1080
rect 2560 -1260 2740 -1180
rect 2560 -1360 2600 -1260
rect 2700 -1360 2740 -1260
rect 2560 -1400 2740 -1360
rect 3100 -1080 3280 -1060
rect 3100 -1180 3140 -1080
rect 3240 -1180 3280 -1080
rect 3100 -1260 3280 -1180
rect 3100 -1360 3140 -1260
rect 3240 -1360 3280 -1260
rect 3100 -1400 3280 -1360
rect 2580 -1800 2720 -1400
rect 2640 -1960 2720 -1800
rect 3140 -1800 3260 -1400
rect 3140 -1960 3240 -1800
rect 4580 -1960 4780 -940
rect 1100 -2020 2580 -1960
rect 1100 -2140 1960 -2020
rect 2080 -2140 2440 -2020
rect 2560 -2140 2580 -2020
rect 1100 -2180 2580 -2140
rect 2640 -2040 2800 -1960
rect 2640 -2160 2660 -2040
rect 2780 -2160 2800 -2040
rect 2640 -2180 2800 -2160
rect 3080 -2040 3240 -1960
rect 3080 -2160 3100 -2040
rect 3220 -2160 3240 -2040
rect 3080 -2180 3240 -2160
rect 3300 -2020 4780 -1960
rect 3300 -2140 3320 -2020
rect 3440 -2140 3800 -2020
rect 3920 -2140 4780 -2020
rect 3300 -2180 4780 -2140
use sky130_fd_pr__pfet_01v8_N6P669  XM5
transform 1 0 2940 0 1 -241
box -1940 -259 1940 293
use sky130_fd_pr__nfet_01v8_9PCEP7  XM8
transform 1 0 2916 0 1 -1273
box -516 -227 516 227
use sky130_fd_pr__nfet_01v8_VU2R7C  XM9
transform 1 0 2938 0 1 -2038
box -938 -162 938 162
<< labels >>
flabel metal1 800 -2500 1000 -2300 0 FreeSans 256 0 0 0 VSS
port 6 nsew
flabel metal1 760 160 960 360 0 FreeSans 256 0 0 0 VDD
port 0 nsew
flabel metal1 1600 -2800 1800 -2600 0 FreeSans 256 0 0 0 REF
port 1 nsew
flabel metal1 4100 -2800 4300 -2600 0 FreeSans 256 0 0 0 IN
port 2 nsew
flabel metal1 1100 -2800 1300 -2600 0 FreeSans 256 0 0 0 B2
port 5 nsew
flabel metal1 4600 -2800 4800 -2600 0 FreeSans 256 0 0 0 OUT
port 3 nsew
flabel metal1 2840 -2820 3040 -2620 0 FreeSans 256 0 0 0 B1
port 4 nsew
<< end >>

# cell sky130_fd_pr__pfet_01v8_N6P669: kit device sky130_fd_pr__pfet_01v8, w 1.95 l 0.75 m 1 nf 12 diffcov 100 polycov 100 guard 0 glc 1 grc 1 gtc 1 gbc 1 tbcov 100 rlcov 100 topc 0 botc 1 poverlap 0 doverlap 0 lmin 0.15 wmin 0.42 class mosfet compatible {sky130_fd_pr__pfet_01v8 sky130_fd_pr__pfet_01v8_lvt sky130_fd_pr__pfet_01v8_hvt sky130_fd_pr__pfet_g5v0d10v5} full_metal 1 viasrc 100 viadrn 100 viagate 100 viagb 0 viagr 0 viagl 0 viagt 0

# cell sky130_fd_pr__nfet_01v8_9PCEP7: kit device sky130_fd_pr__nfet_01v8, w 1.7 l 0.5 m 1 nf 4 diffcov 100 polycov 100 guard 0 glc 1 grc 1 gtc 1 gbc 1 tbcov 100 rlcov 100 topc 0 botc 1 poverlap 0 doverlap 0 lmin 0.15 wmin 0.42 class mosfet compatible {sky130_fd_pr__nfet_01v8 sky130_fd_pr__nfet_01v8_lvt sky130_fd_bs_flash__special_sonosfet_star sky130_fd_pr__nfet_g5v0d10v5 sky130_fd_pr__nfet_05v0_nvt sky130_fd_pr__nfet_03v3_nvt} full_metal 1 viasrc 100 viadrn 100 viagate 100 viagb 0 viagr 0 viagl 0 viagt 0

# cell sky130_fd_pr__nfet_01v8_VU2R7C: kit device sky130_fd_pr__nfet_01v8, w 1.05 l 0.75 m 1 nf 6 diffcov 100 polycov 100 guard 0 glc 1 grc 1 gtc 1 gbc 1 tbcov 100 rlcov 100 topc 1 botc 0 poverlap 0 doverlap 0 lmin 0.15 wmin 0.42 class mosfet compatible {sky130_fd_pr__nfet_01v8 sky130_fd_pr__nfet_01v8_lvt sky130_fd_bs_flash__special_sonosfet_star sky130_fd_pr__nfet_g5v0d10v5 sky130_fd_pr__nfet_05v0_nvt sky130_fd_pr__nfet_03v3_nvt} full_metal 1 viasrc 100 viadrn 100 viagate 100 viagb 0 viagr 0 viagl 0 viagt 0
